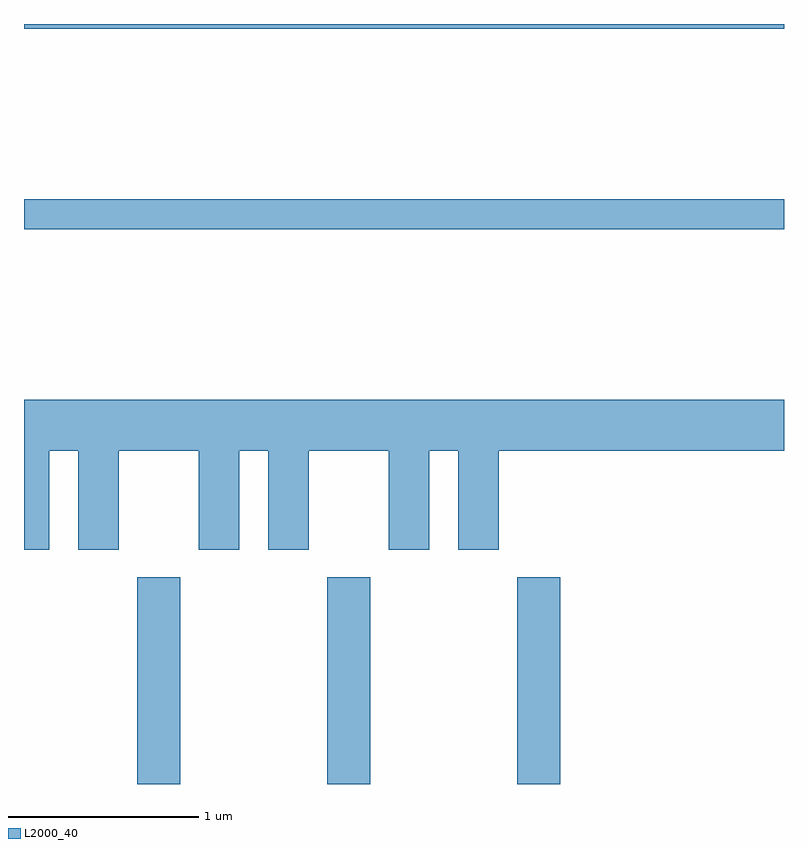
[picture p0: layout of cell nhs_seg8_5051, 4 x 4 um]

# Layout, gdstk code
import gdstk
lib = gdstk.Library(unit=1e-6, precision=1e-09)
def R(c, l, rs):  # rectangles x0, y0, x1, y1
    for r in rs: c.add(gdstk.rectangle(r[:2], r[2:], *l))
def A(c, l, x, y, w, h, nx, ny, dx, dy):  # array of equal rectangles
    R(c, l, [(x+i*dx, y+j*dy, x+i*dx+w, y+j*dy+h) for i in range(nx) for j in range(ny)])
def P(c, l, *ps):  # polygons
    for p in ps: c.add(gdstk.Polygon(p, *l))
L2000_40 = (2000, 40)

nhs_seg8_5051 = lib.new_cell('nhs_seg8_5051')
A(nhs_seg8_5051, L2000_40, 336.206, 1932.342, 0.228, 1.087, 3, 1, 1, 0)
R(nhs_seg8_5051, L2000_40, [(335.611,1935.261,339.611,1935.419), (335.611,1936.316,339.611,1936.342)])
P(nhs_seg8_5051, L2000_40, [(335.744,1934.096),(335.896,1934.096),(335.896,1933.576),(336.109,1933.576),(336.109,1934.096),(336.531,1934.096),(336.531,1933.576),(336.744,1933.576),(336.744,1934.096),(336.896,1934.096),(336.896,1933.576),(337.109,1933.576),(337.109,1934.096),(337.531,1934.096),(337.531,1933.576),(337.744,1933.576),(337.744,1934.096),(337.896,1934.096),(337.896,1933.576),(338.109,1933.576),(338.109,1934.096),(339.611,1934.096),(339.611,1934.364),(335.611,1934.364),(335.611,1933.576),(335.744,1933.576)])

lib.write_gds('nhs_seg8_5051.gds')
